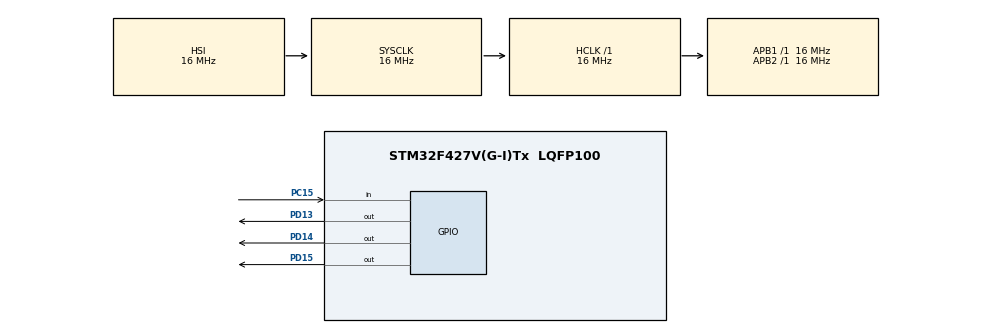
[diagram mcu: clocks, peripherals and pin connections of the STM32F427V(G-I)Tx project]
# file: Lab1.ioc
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Mcu.Family=STM32F4
Mcu.Name=STM32F427V(G-I)Tx
Mcu.Package=LQFP100
NVIC.PriorityGroup=NVIC_PRIORITYGROUP_4
PA13.Mode=JTAG_5_pins
PA13.Signal=SYS_JTMS-SWDIO
PA14.Mode=JTAG_5_pins
PA14.Signal=SYS_JTCK-SWCLK
PA15.Mode=JTAG_5_pins
PA15.Signal=SYS_JTDI
PB3.Mode=JTAG_5_pins
PB3.Signal=SYS_JTDO-SWO
PB4.Mode=JTAG_5_pins
PB4.Signal=SYS_JTRST
PC15/OSC32_OUT.Signal=GPIO_Input
PD13.Signal=GPIO_Output
PD14.Signal=GPIO_Output
PD15.Signal=GPIO_Output
PH0/OSC_IN.Mode=HSE-External-Oscillator
PH0/OSC_IN.Signal=RCC_OSC_IN
PH1/OSC_OUT.Mode=HSE-External-Oscillator
PH1/OSC_OUT.Signal=RCC_OSC_OUT
ProjectManager.HeapSize=0x200
ProjectManager.StackSize=0x400
ProjectManager.TargetToolchain=STM32CubeIDE
RCC.AHBFreq_Value=16000000
RCC.APB1Freq_Value=16000000
RCC.APB2Freq_Value=16000000
RCC.CortexFreq_Value=16000000
RCC.HSE_VALUE=25000000
RCC.HSI_VALUE=16000000
RCC.LSE_VALUE=32768
RCC.SYSCLKFreq_VALUE=16000000
RCC.VCOOutputFreq_Value=192000000
board=custom

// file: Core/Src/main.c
/* USER CODE BEGIN Header */
/**
  **************************************************************************
  * @file           : main.c
  * @brief          : Main program body
  * Author:
  * Кравцов Кирилл, ᠪᠥᠯᠥᠷᠪᠥᠯᠳ ᠠᠷᠢᠭᠣᠨ
  **************************************************************************
  * @attention
  *
  * Copyright (c) 2025.
  *
  **************************************************************************
  */
/* USER CODE END Header */

#include "main.h"
#include <string.h>
#include <stdbool.h>

void SystemClock_Config(void);
static void MX_GPIO_Init(void);
void Error_Handler(void);

/* USER CODE BEGIN 0 */
/******************** HARDWARE DRIVERS (universal, non-blocking) ********************/
// LED Driver - hardware abstraction layer
static void LED_SetGreen(bool on) {
    HAL_GPIO_WritePin(GPIOD, GPIO_PIN_13, on ? GPIO_PIN_SET : GPIO_PIN_RESET);
}

static void LED_SetYellow(bool on) {
    HAL_GPIO_WritePin(GPIOD, GPIO_PIN_14, on ? GPIO_PIN_SET : GPIO_PIN_RESET);
}

static void LED_SetRed(bool on) {
    HAL_GPIO_WritePin(GPIOD, GPIO_PIN_15, on ? GPIO_PIN_SET : GPIO_PIN_RESET);
}

// Button Driver with debouncing (non-blocking)
#define DEBOUNCE_DELAY_MS 40
static bool button_debounced_state = true;  // true = released (active-low)
static uint32_t last_debounce_time = 0;
static bool button_pressed_event = false;
static bool button_released_event = false;
static uint32_t press_start_time = 0;
static uint32_t last_press_duration = 0;

void Button_Process(void) {
    uint32_t now = HAL_GetTick();
    bool raw_state = HAL_GPIO_ReadPin(GPIOC, GPIO_PIN_15) == GPIO_PIN_RESET; // Active-low

    if (raw_state != button_debounced_state) {
        if (now - last_debounce_time > DEBOUNCE_DELAY_MS) {
            button_debounced_state = raw_state;
            last_debounce_time = now;

            if (button_debounced_state) { // Pressed event
                button_pressed_event = true;
                press_start_time = now;
            } else { // Released event
                button_released_event = true;
                last_press_duration = now - press_start_time;
            }
        }
    }
}

bool Button_WasPressed(void) {
    bool state = button_pressed_event;
    button_pressed_event = false;
    return state;
}

bool Button_WasReleased(void) {
    bool state = button_released_event;
    button_released_event = false;
    return state;
}

uint32_t Button_GetPressDuration(void) {
    return last_press_duration;
}

/******************** APPLICATION LOGIC ********************/
// Morse code parameters
const char correct_code[] = ".-.-.-.."; // 8 symbols
const int code_length = 8;
const uint32_t dot_threshold_ms = 400;
const uint32_t input_timeout_ms = 5000;
const uint32_t yellow_blink_ms = 150;
const uint32_t red_blink_ms = 300;
const uint32_t unlock_duration_ms = 3000;
const int max_failures = 3;

// System states
typedef enum {
    STATE_WAITING,           // Waiting for first button press
    STATE_INPUT,             // Actively reading code sequence
    STATE_YELLOW_BLINK_ON,   // Yellow LED turned on (waiting for duration)
    STATE_YELLOW_BLINK_OFF,  // Yellow LED turned off (processing complete)
    STATE_RED_BLINK_ON,      // Red LED turned on (waiting for duration)
    STATE_RED_BLINK_OFF,     // Red LED turned off (processing complete)
    STATE_UNLOCKED,          // Green LED on for 3 seconds
    STATE_FAILURE_SEQUENCE   // 5 red blinks after 3 failures
} SystemState;

SystemState current_state = STATE_WAITING;
int input_index = 0;         // Tracks position in code sequence
int failure_count = 0;       // Counts consecutive failures
uint32_t last_input_time = 0;
uint32_t blink_start_time = 0;
int blink_count = 0;         // For failure blink sequence

// Reset all state variables to initial conditions
void Reset_State(void) {
    input_index = 0;
    failure_count = 0;
    blink_count = 0;
    LED_SetGreen(false);
    LED_SetYellow(false);
    LED_SetRed(false);
}

// Reset only input buffer (keep failure count for lockout)
void Reset_InputBuffer(void) {
    input_index = 0;
    LED_SetYellow(false);
    LED_SetRed(false);
}

/* USER CODE END 0 */

int main(void) {
    HAL_Init();
    SystemClock_Config();
    MX_GPIO_Init();

    // Initialize all LEDs to off
    Reset_State();

    while (1) {
        uint32_t now = HAL_GetTick();

        // Process button with debouncing
        Button_Process();

        switch(current_state) {
            case STATE_WAITING:
            {
                LED_SetGreen(false);
                LED_SetYellow(false);
                LED_SetRed(false);

                if (Button_WasPressed()) {
                    last_input_time = now;
                    current_state = STATE_INPUT;
                }
                break;
            }

            case STATE_INPUT:
            {
                // Handle input timeout - reset if no activity for 5 seconds
                if (input_index > 0 && (now - last_input_time >= input_timeout_ms)) {
                    LED_SetYellow(true);
                    blink_start_time = now;
                    current_state = STATE_YELLOW_BLINK_ON;
                    // Special case: this is a timeout indication
                    input_index = -1; // Use negative index to indicate timeout
                    break;
                }

                if (Button_WasReleased()) {
                    last_input_time = now;
                    uint32_t press_duration = Button_GetPressDuration();
                    char symbol = (press_duration < dot_threshold_ms) ? '.' : '-';

                    if (input_index < code_length) {
                        if (symbol == correct_code[input_index]) {
                            // CORRECT SYMBOL
                            LED_SetYellow(true);
                            blink_start_time = now;
                            current_state = STATE_YELLOW_BLINK_ON;
                        } else {
                            // WRONG SYMBOL
                            LED_SetRed(true);
                            blink_start_time = now;
                            current_state = STATE_RED_BLINK_ON;
                        }
                    }
                }
                break;
            }

            case STATE_YELLOW_BLINK_ON:
            {
                // Wait for blink duration to pass
                if (now - blink_start_time >= yellow_blink_ms) {
                    LED_SetYellow(false);
                    current_state = STATE_YELLOW_BLINK_OFF;
                }
                break;
            }

            case STATE_YELLOW_BLINK_OFF:
            {
                // Process what happens after yellow blink
                if (input_index == -1) {
                    // This was a timeout indication
                    Reset_InputBuffer();
                    current_state = STATE_WAITING;
                } else {
                    input_index++; // Move to next symbol

                    if (input_index >= code_length) {
                        // FULL CODE CORRECT - unlock
                        LED_SetGreen(true);
                        blink_start_time = now;
                        current_state = STATE_UNLOCKED;
                        failure_count = 0; // Reset failures on success
                    } else {
                        // Continue to next symbol
                        current_state = STATE_INPUT;
                    }
                }
                break;
            }

            case STATE_RED_BLINK_ON:
            {
                // Wait for blink duration to pass
                if (now - blink_start_time >= red_blink_ms) {
                    LED_SetRed(false);
                    current_state = STATE_RED_BLINK_OFF;
                }
                break;
            }

            case STATE_RED_BLINK_OFF:
            {
                // Process what happens after red blink
                failure_count++;
                Reset_InputBuffer(); // Reset input buffer after wrong symbol

                if (failure_count >= max_failures) {
                    // Start 5-blink failure sequence
                    blink_count = 0;
                    LED_SetRed(true);
                    blink_start_time = now;
                    current_state = STATE_FAILURE_SEQUENCE;
                    failure_count = 0; // Reset for next cycle
                } else {
                    current_state = STATE_WAITING;
                }
                break;
            }

            case STATE_UNLOCKED:
            {
                if (now - blink_start_time >= unlock_duration_ms) {
                    LED_SetGreen(false);
                    Reset_State(); // Complete reset after successful unlock
                    current_state = STATE_WAITING;
                }
                // Clear any button events during unlock period
                Button_WasPressed();
                Button_WasReleased();
                break;
            }

            case STATE_FAILURE_SEQUENCE:
            {
                uint32_t elapsed = now - blink_start_time;

                if (blink_count % 2 == 0) { // ON period (300ms)
                    if (elapsed >= 300) {
                        LED_SetRed(false);
                        blink_count++;
                        blink_start_time = now;
                    }
                } else { // OFF period (200ms)
                    if (elapsed >= 200) {
                        blink_count++;

                        if (blink_count >= 10) { // 5 full blinks = 10 state changes
                            LED_SetRed(false);
                            Reset_State(); // COMPLETE RESET AFTER FAILURE SEQUENCE
                            current_state = STATE_WAITING;
                        } else {
                            LED_SetRed(true);
                            blink_start_time = now;
                        }
                    }
                }
                // Clear button events during blink sequence
                Button_WasPressed();
                Button_WasReleased();
                break;
            }
        }

        // Short delay to prevent CPU hogging
        for(volatile int i = 0; i < 10; i++) {
            __NOP();
        }
    }
}

void SystemClock_Config(void) {
    RCC_OscInitTypeDef RCC_OscInitStruct = {0};
    RCC_ClkInitTypeDef RCC_ClkInitStruct = {0};

    __HAL_RCC_PWR_CLK_ENABLE();
    __HAL_PWR_VOLTAGESCALING_CONFIG(PWR_REGULATOR_VOLTAGE_SCALE3);

    RCC_OscInitStruct.OscillatorType = RCC_OSCILLATORTYPE_HSI;
    RCC_OscInitStruct.HSIState = RCC_HSI_ON;
    RCC_OscInitStruct.HSICalibrationValue = RCC_HSICALIBRATION_DEFAULT;
    RCC_OscInitStruct.PLL.PLLState = RCC_PLL_NONE;
    if (HAL_RCC_OscConfig(&RCC_OscInitStruct) != HAL_OK) {
        Error_Handler();
    }

    RCC_ClkInitStruct.ClockType = RCC_CLOCKTYPE_HCLK|RCC_CLOCKTYPE_SYSCLK
                                |RCC_CLOCKTYPE_PCLK1|RCC_CLOCKTYPE_PCLK2;
    RCC_ClkInitStruct.SYSCLKSource = RCC_SYSCLKSOURCE_HSI;
    RCC_ClkInitStruct.AHBCLKDivider = RCC_SYSCLK_DIV1;
    RCC_ClkInitStruct.APB1CLKDivider = RCC_HCLK_DIV1;
    RCC_ClkInitStruct.APB2CLKDivider = RCC_HCLK_DIV1;

    if (HAL_RCC_ClockConfig(&RCC_ClkInitStruct, FLASH_LATENCY_0) != HAL_OK) {
        Error_Handler();
    }
}

static void MX_GPIO_Init(void) {
    GPIO_InitTypeDef GPIO_InitStruct = {0};

    __HAL_RCC_GPIOC_CLK_ENABLE();
    __HAL_RCC_GPIOD_CLK_ENABLE();

    // Button initialization (PC15)
    GPIO_InitStruct.Pin = GPIO_PIN_15;
    GPIO_InitStruct.Mode = GPIO_MODE_INPUT;
    GPIO_InitStruct.Pull = GPIO_NOPULL;
    HAL_GPIO_Init(GPIOC, &GPIO_InitStruct);

    // LEDs initialization (PD12-PD15)
    GPIO_InitStruct.Pin = GPIO_PIN_13|GPIO_PIN_14|GPIO_PIN_15;
    GPIO_InitStruct.Mode = GPIO_MODE_OUTPUT_PP;
    GPIO_InitStruct.Pull = GPIO_NOPULL;
    GPIO_InitStruct.Speed = GPIO_SPEED_FREQ_LOW;
    HAL_GPIO_Init(GPIOD, &GPIO_InitStruct);

    // Ensure LEDs start in off state
    HAL_GPIO_WritePin(GPIOD, GPIO_PIN_13|GPIO_PIN_14|GPIO_PIN_15, GPIO_PIN_RESET);
}
/* USER CODE END 4 */

void Error_Handler(void) {
    __disable_irq();
    while (1) {
    }
}
